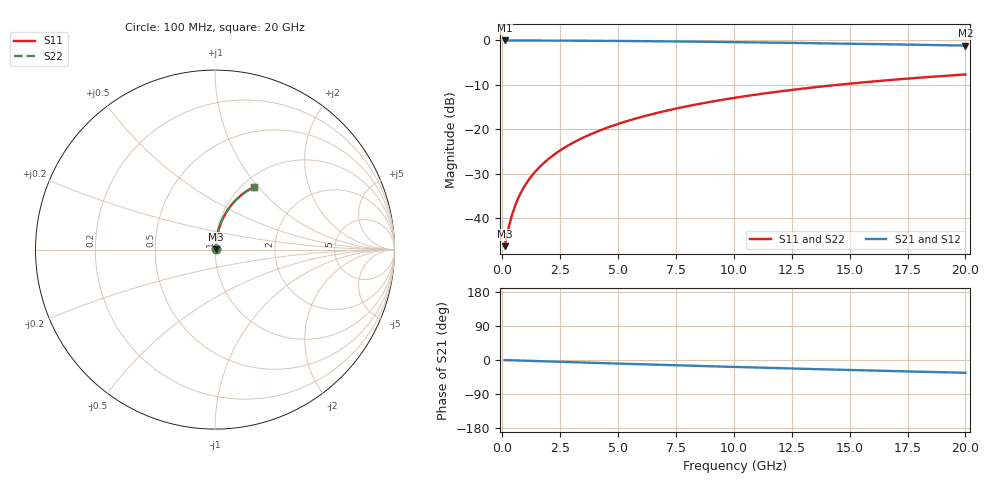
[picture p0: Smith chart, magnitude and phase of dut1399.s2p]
! Touchstone file exported from HFSS 2024.1.0
!  File:  C:/UserFiles/LocalFiles/RDL_TSV_Batchsim/temp_RDL_bottom_1399_1780372421.aedt
!  Generated:  11:56:04 AM Jun  2, 2026
!  Design:  RDL_bottom
!  Project:  temp_RDL_bottom_1399_1780372421
!  Setup:  Setup1
!  Solution:  Sweep
! Variables:
!  dtsv = 10.80580581um
!  hbump = 3um
!  htsv = 93.2um
!  ldown = 399.65um
!  lrdl = 100um
!  p = 40
!  p1 = 47.61um
!  rhole = 1um
!  t = 450um
!  tdown = 3.13um
!  trdl = 3.915915916um
!  wdown = 10.99um
!  wrdl = 20um
# GHz S MA R 50.000000
! Terminal data exported
! Port[1] = RDL1_T1
! Port[2] = RDL1_T2
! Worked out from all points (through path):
!   200 points, 100 MHz to 20 GHz, reference 50 ohm
!   highest |S21| = -0.04 dB at 100 MHz (marker M1); lowest = -1.2 dB at 20 GHz (marker M2)
!   group delay of S21, straight-line fit = 4.69 ps
!   lowest |S11| = -46.3 dB at 100 MHz (marker M3), VSWR 1.01, Z = 50.4 + j0.239 ohm
!   |S11| at or under -10 dB: start of sweep to 14.52 GHz
!   |S22| runs from -46.3 to -7.7 dB; largest |S21 - S12| = 2.5e-15
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0.1  0.004834 29.4  0.9958 -0.2  0.9958 -0.2  0.004834 29.4
! Gamma 0 0 0 0
! Port Impedance 50 0 50 0
0.3  0.008312 58.5  0.9957 -0.6  0.9957 -0.6  0.008312 58.5
0.4  0.01042 64.7  0.9956 -0.8  0.9956 -0.8  0.01042 64.7
0.5  0.01259 68.8  0.9955 -1.0  0.9955 -1.0  0.01259 68.8
0.6  0.0148 71.5  0.9954 -1.2  0.9954 -1.2  0.0148 71.5
0.7  0.01702 73.6  0.9952 -1.4  0.9952 -1.4  0.01702 73.6
0.9  0.0215 76.3  0.995 -1.7  0.995 -1.7  0.0215 76.3
1.2  0.02826 78.6  0.9946 -2.3  0.9946 -2.3  0.02826 78.6
1.4  0.03278 79.5  0.9943 -2.7  0.9943 -2.7  0.03278 79.5
1.7  0.03958 80.4  0.9938 -3.3  0.9938 -3.3  0.03958 80.4
2.2  0.05095 81.1  0.9928 -4.2  0.9928 -4.2  0.05095 81.1
2.8  0.06462 81.3  0.9913 -5.3  0.9913 -5.3  0.06462 81.3
3.5  0.08056 81.0  0.9892 -6.7  0.9892 -6.7  0.08056 81.0
4.2  0.09648 80.4  0.9867 -8.0  0.9867 -8.0  0.09648 80.4
5  0.1146 79.6  0.9834 -9.4  0.9834 -9.4  0.1146 79.6
5.9  0.1349 78.5  0.9791 -11.1  0.9791 -11.1  0.1349 78.5
6.8  0.155 77.3  0.9743 -12.7  0.9743 -12.7  0.155 77.3
8.3  0.1882 75.2  0.9654 -15.3  0.9654 -15.3  0.1881 75.2
10.1  0.2269 72.5  0.9533 -18.4  0.9533 -18.4  0.2269 72.5
13.4  0.2945 67.6  0.9284 -23.9  0.9284 -23.9  0.2945 67.5
16.7  0.3566 62.7  0.9012 -29.0  0.9012 -29.0  0.3566 62.7
20  0.4128 58.0  0.8727 -33.8  0.8727 -33.8  0.4128 58.0
